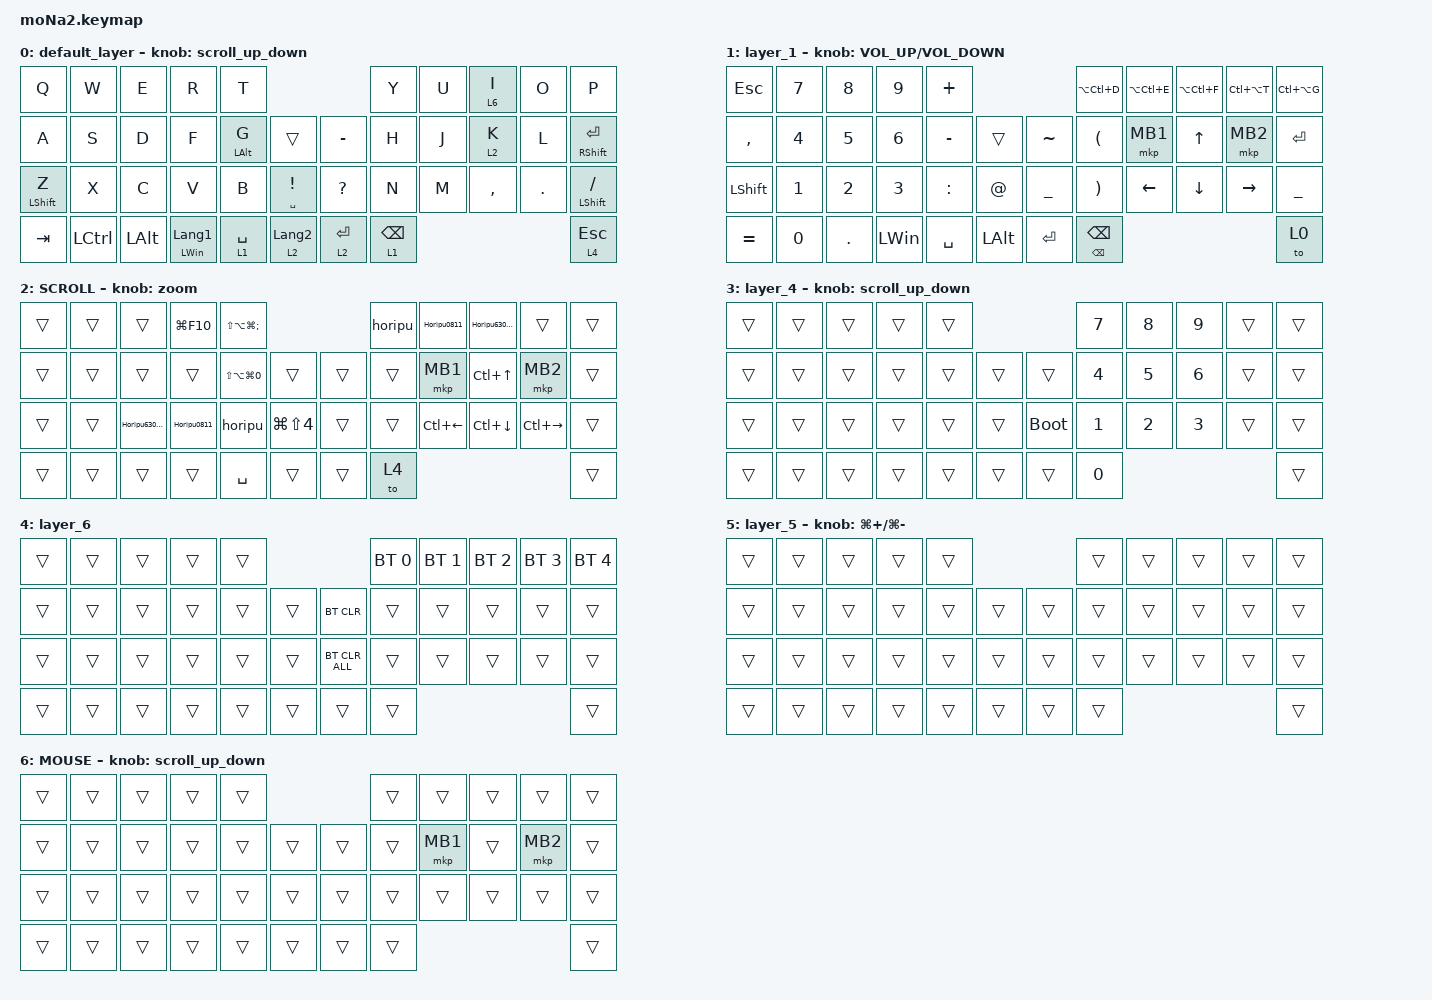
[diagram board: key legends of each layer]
#include <behaviors.dtsi>
#include <dt-bindings/zmk/bt.h>
#include <dt-bindings/zmk/keys.h>
#include <dt-bindings/zmk/pointing.h>

#define ZMK_POINTING_DEFAULT_SCRL_VAL 100
#define SCROLL 2
#define MOUSE 6

&mt {
    flavor = "balanced";
    quick-tap-ms = <0>;
};

/ {
    combos {
        compatible = "zmk,combos";

        tab {
            bindings = <&kp TAB>;
            key-positions = <10 11>;
        };
    };

    macros {
        to_layer_0: to_layer_0 {
            compatible = "zmk,behavior-macro-one-param";
            #binding-cells = <1>;
            bindings = <&to 0 &macro_param_1to1 &kp MACRO_PLACEHOLDER>;
            label = "TO_LAYER_0";
        };

        horipu: horipu {
            compatible = "zmk,behavior-macro";
            #binding-cells = <0>;
            bindings = <&kp H &kp O &kp R &kp I &kp P &kp U &kp ENTER>;
            label = "HORIPU";
        };

        Horipu0811: Horipu0811 {
            compatible = "zmk,behavior-macro";
            #binding-cells = <0>;
            bindings = <&kp LS(H) &kp O &kp R &kp I &kp P &kp U &kp N0 &kp N8 &kp N1 &kp N1>;
            label = "HORIPU0811";
        };

        Horipu630811: Horipu630811 {
            compatible = "zmk,behavior-macro";
            #binding-cells = <0>;
            bindings = <&kp LS(H) &kp O &kp R &kp I &kp P &kp U &kp N6 &kp N3 &kp N0 &kp N8 &kp N1 &kp N1>;
            label = "HORIPU630811";
        };
    };

    behaviors {
        lt_to_layer_0: lt_to_layer_0 {
            compatible = "zmk,behavior-hold-tap";
            label = "LAYER_TAP_TO_0";
            bindings = <&mo>, <&to_layer_0>;

            #binding-cells = <2>;
            tapping-term-ms = <200>;
        };

        scroll_up_down: behavior_sensor_rotate_mouse_wheel_up_down {
            compatible = "zmk,behavior-sensor-rotate";
            #sensor-binding-cells = <0>;
            bindings = <&msc SCRL_UP>, <&msc SCRL_DOWN>;

            tap-ms = <20>;
        };

        zoom: zoom {
            compatible = "zmk,behavior-sensor-rotate";
            label = "ZOOM";
            #sensor-binding-cells = <0>;
            bindings = <&kp C_AC_ZOOM_IN>, <&kp C_AC_ZOOM_OUT>;
        };
    };

    keymap {
        compatible = "zmk,keymap";

        default_layer {
            bindings = <
&kp Q             &kp W             &kp E         &kp R                    &kp T                                                  &kp Y            &kp U  &lt 6 I    &kp O    &kp P
&kp A             &kp S             &kp D         &kp F                    &mt LEFT_ALT G  &trans                   &kp MINUS     &kp H            &kp J  &lt 2 K    &kp L    &mt RIGHT_SHIFT ENTER
&mt LEFT_SHIFT Z  &kp X             &kp C         &kp V                    &kp B           &mt SPACE EXCLAMATION    &kp QUESTION  &kp N            &kp M  &kp COMMA  &kp DOT  &mt LEFT_SHIFT SLASH
&kp TAB           &kp LEFT_CONTROL  &kp LEFT_ALT  &mt LEFT_WIN LANGUAGE_1  &lt 1 SPACE     &lt 2 LANGUAGE_2         &lt 2 ENTER   &lt 1 BACKSPACE                             &lt 4 ESC
            >;

            sensor-bindings = <&scroll_up_down>;
        };

        layer_1 {
            bindings = <
&kp ESC         &kp N7        &kp N8        &kp N9        &kp PLUS                              &kp LA(LC(D))            &kp LA(LC(E))   &kp LA(LC(F))   &kp LC(LA(T))    &kp LC(LA(G))
&kp COMMA       &kp NUMBER_4  &kp N5        &kp NUMBER_6  &kp MINUS  &trans          &kp TILDE  &kp LEFT_PARENTHESIS     &mkp MB1        &kp UP_ARROW    &mkp MB2         &kp ENTER
&kp LEFT_SHIFT  &kp NUMBER_1  &kp NUMBER_2  &kp NUMBER_3  &kp COLON  &kp AT          &kp UNDER  &kp RIGHT_PARENTHESIS    &kp LEFT_ARROW  &kp DOWN_ARROW  &kp RIGHT_ARROW  &kp UNDERSCORE
&kp EQUAL       &kp N0        &kp DOT       &kp LEFT_WIN  &kp SPACE  &kp LEFT_ALT    &kp ENTER  &mt BACKSPACE BACKSPACE                                                   &to 0
            >;

            sensor-bindings = <&inc_dec_kp C_VOLUME_UP C_VOLUME_DOWN>;
        };

        SCROLL {
            bindings = <
&trans  &trans  &trans         &kp LG(F10)  &kp LS(LA(LG(SEMI)))                                  &horipu  &Horipu0811         &Horipu630811       &trans               &trans
&trans  &trans  &trans         &trans       &kp LS(LA(LG(N0)))    &trans                  &trans  &trans   &mkp MB1            &kp LC(UP_ARROW)    &mkp MB2             &trans
&trans  &trans  &Horipu630811  &Horipu0811  &horipu               &kp LG(LS(NUMBER_4))    &trans  &trans   &kp LC(LEFT_ARROW)  &kp LC(DOWN_ARROW)  &kp LC(RIGHT_ARROW)  &trans
&trans  &trans  &trans         &trans       &kp SPACE             &trans                  &trans  &to 4                                                                 &trans
            >;

            sensor-bindings = <&zoom>;
        };

        layer_4 {
            bindings = <
&trans  &trans  &trans  &trans  &trans                         &kp N7        &kp N8        &kp N9        &trans  &trans
&trans  &trans  &trans  &trans  &trans  &trans    &trans       &kp NUMBER_4  &kp N5        &kp NUMBER_6  &trans  &trans
&trans  &trans  &trans  &trans  &trans  &trans    &bootloader  &kp NUMBER_1  &kp NUMBER_2  &kp NUMBER_3  &trans  &trans
&trans  &trans  &trans  &trans  &trans  &trans    &trans       &kp N0                                            &trans
            >;

            sensor-bindings = <&scroll_up_down>;
        };

        layer_6 {
            bindings = <
&trans  &trans  &trans  &trans  &trans                            &bt BT_SEL 0  &bt BT_SEL 1  &bt BT_SEL 2  &bt BT_SEL 3  &bt BT_SEL 4
&trans  &trans  &trans  &trans  &trans  &trans    &bt BT_CLR      &trans        &trans        &trans        &trans        &trans
&trans  &trans  &trans  &trans  &trans  &trans    &bt BT_CLR_ALL  &trans        &trans        &trans        &trans        &trans
&trans  &trans  &trans  &trans  &trans  &trans    &trans          &trans                                                  &trans
            >;
        };

        layer_5 {
            bindings = <
&trans  &trans  &trans  &trans  &trans                    &trans  &trans  &trans  &trans  &trans
&trans  &trans  &trans  &trans  &trans  &trans    &trans  &trans  &trans  &trans  &trans  &trans
&trans  &trans  &trans  &trans  &trans  &trans    &trans  &trans  &trans  &trans  &trans  &trans
&trans  &trans  &trans  &trans  &trans  &trans    &trans  &trans                          &trans
            >;

            sensor-bindings = <&inc_dec_kp LG(PLUS) LG(MINUS)>;
        };

        MOUSE {
            bindings = <
&trans  &trans  &trans  &trans  &trans                    &trans  &trans    &trans  &trans    &trans
&trans  &trans  &trans  &trans  &trans  &trans    &trans  &trans  &mkp MB1  &trans  &mkp MB2  &trans
&trans  &trans  &trans  &trans  &trans  &trans    &trans  &trans  &trans    &trans  &trans    &trans
&trans  &trans  &trans  &trans  &trans  &trans    &trans  &trans                              &trans
            >;

            sensor-bindings = <&scroll_up_down>;
        };
    };

    conditional_layers {
        compatible = "zmk,conditional-layers";

        mouse {
            if-layers = <0>;
            then-layer = <7>;
        };
    };
};
